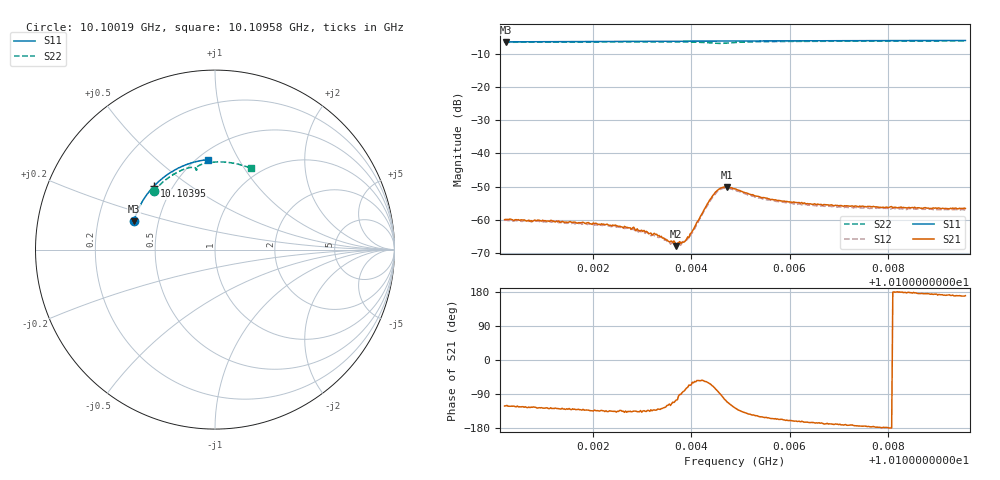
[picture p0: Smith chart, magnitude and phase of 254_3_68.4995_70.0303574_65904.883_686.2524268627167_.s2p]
#  HZ  S  RI  R  50.00
! Rohde & Schwarz Vector Network Analyzer
! Rohde-Schwarz,ZNB20-2Port,1311601062101988,3.16
! Created: UTC 3/20/2024, 4:59:59 PM
! freq[Hz]  re:S11  im:S11  re:S21  im:S21  re:S12  im:S12  re:S22  im:S22
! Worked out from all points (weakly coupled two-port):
!   401 points, 10.10019 GHz to 10.10958 GHz, reference 50 ohm
!   highest |S21| = -50.09 dB at 10.10472 GHz (marker M1); lowest = -67.9 dB at 10.10369 GHz (marker M2)
!   lowest |S11| = -6.4 dB at 10.10022 GHz (marker M3), VSWR 2.84, Z = 18.1 + j7.43 ohm
!   |S11| at or under -10 dB: nowhere
!   |S22| runs from -6.9 to -6.1 dB; largest |S21 - S12| = 0.00033
!   S11 on the Smith chart (normalised r, x): 10.10019 GHz: 0.36, +0.15; 10.10395 GHz: 0.40, +0.37; 10.10958 GHz: 0.56, +0.75
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1.0100193e10  -0.4528 0.157  -0.000521 -0.000856  -0.000436 -0.000878  -0.3418 0.3252
1.0100217e10  -0.4521 0.1584  -0.000522 -0.000866  -0.00045 -0.00087  -0.3407 0.3264
1.0101226e10  -0.4314 0.2163  -0.000549 -0.000741  -0.000525 -0.000789  -0.2947 0.3725
1.0101766e10  -0.4173 0.246  -0.00061 -0.000669  -0.000499 -0.000689  -0.2674 0.3945
1.0102188e10  -0.4048 0.2683  -0.000589 -0.000617  -0.000536 -0.00062  -0.2448 0.4102
1.0102681e10  -0.3887 0.2937  -0.000568 -0.000515  -0.000472 -0.000571  -0.217 0.427
1.0103339e10  -0.3648 0.3257  -0.00037 -0.000445  -0.000321 -0.000432  -0.1769 0.4462
1.0103503e10  -0.3586 0.3335  -0.000247 -0.000432  -0.00022 -0.000415  -0.1663 0.4502
1.0103691e10  -0.3511 0.3422  -0.000108 -0.000386  -7.13e-05 -0.000403  -0.1533 0.4542
1.0103738e10  -0.3492 0.3442  -3.8e-05 -0.00045  -1.6e-05 -0.000399  -0.1502 0.4551
1.0103832e10  -0.3453 0.3485  5.38e-05 -0.000456  8.22e-05 -0.000464  -0.1433 0.4566
1.0103949e10  -0.3403 0.3536  0.000216 -0.00049  0.000226 -0.000465  -0.1344 0.458
1.0104324e10  -0.3243 0.3697  0.000899 -0.00148  0.00096 -0.00131  -0.1061 0.4529
1.0104442e10  -0.3192 0.3746  0.000818 -0.0022  0.000952 -0.00202  -0.1013 0.4471
1.0104583e10  -0.3128 0.3802  4.13e-05 -0.00297  0.00027 -0.00283  -0.1031 0.4423
1.0104723e10  -0.3065 0.3857  -0.00108 -0.00293  -0.000757 -0.00289  -0.1063 0.4469
1.0104888e10  -0.2991 0.3922  -0.00173 -0.00235  -0.00147 -0.00236  -0.1026 0.4574
1.0105334e10  -0.2778 0.4091  -0.00189 -0.00123  -0.00173 -0.0013  -0.0742 0.4754
1.0105615e10  -0.264 0.419  -0.00181 -0.000868  -0.00169 -0.00101  -0.0548 0.481
1.010646e10  -0.2204 0.4459  -0.00164 -0.000444  -0.00154 -0.000542  0.00161 0.4881
1.0108033e10  -0.1327 0.4826  -0.00154 -1.12e-05  -0.00145 -0.000189  0.1029 0.4815
1.0109582e10  -0.0412 0.5013  -0.00145 0.000264  -0.00139 0.000141  0.1978 0.4541
